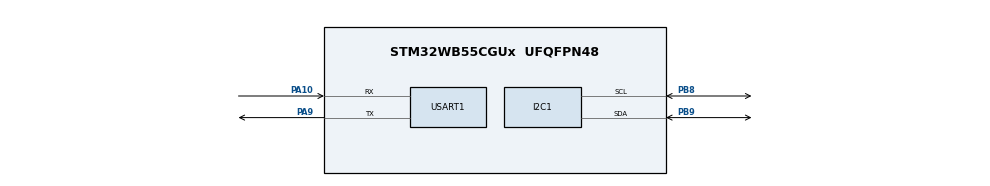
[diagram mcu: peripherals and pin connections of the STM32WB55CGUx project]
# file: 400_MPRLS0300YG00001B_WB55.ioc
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I2C1.Timing=0x00100D14
Mcu.Family=STM32WB
Mcu.Name=STM32WB55CGUx
Mcu.Package=UFQFPN48
NVIC.PriorityGroup=NVIC_PRIORITYGROUP_4
OSC_IN.Mode=HSE-External-Oscillator
OSC_IN.Signal=RCC_OSC_IN
OSC_OUT.Mode=HSE-External-Oscillator
OSC_OUT.Signal=RCC_OSC_OUT
PA10.Mode=Asynchronous
PA10.Signal=USART1_RX
PA13.Mode=Serial_Wire
PA13.Signal=SYS_JTMS-SWDIO
PA14.Mode=Serial_Wire
PA14.Signal=SYS_JTCK-SWCLK
PA9.Mode=Asynchronous
PA9.Signal=USART1_TX
PB8.Mode=I2C
PB8.Signal=I2C1_SCL
PB9.Mode=I2C
PB9.Signal=I2C1_SDA
PC14-OSC32_IN.Mode=LSE-External-Oscillator
PC14-OSC32_IN.Signal=RCC_OSC32_IN
PC15-OSC32_OUT.Mode=LSE-External-Oscillator
PC15-OSC32_OUT.Signal=RCC_OSC32_OUT
ProjectManager.HeapSize=0x200
ProjectManager.StackSize=0x400
ProjectManager.TargetToolchain=STM32CubeIDE
RCC.APB3Freq_Value=4000000
RCC.HSE_VALUE=8000000
RCC.HSI48_VALUE=48000000
RCC.HSI_VALUE=16000000
RCC.VCOOutputFreq_Value=32000000
USART1.VirtualMode-Asynchronous=VM_ASYNC
VP_MEMORYMAP_VS_MEMORYMAP.Mode=CurAppReg
board=custom

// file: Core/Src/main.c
/* USER CODE BEGIN Header */
/**
  ******************************************************************************
  * @file           : main.c
  * @brief          : Main program body
  ******************************************************************************
  * @attention
  *
  * Copyright (c) 2026 STMicroelectronics.
  * All rights reserved.
  *
  * This software is licensed under terms that can be found in the LICENSE file
  * in the root directory of this software component.
  * If no LICENSE file comes with this software, it is provided AS-IS.
  *
  ******************************************************************************
  */
/* USER CODE END Header */
#include "main.h"

/* USER CODE BEGIN Includes */
#include <stdio.h>
#include <string.h>
/* USER CODE END Includes */

/* USER CODE BEGIN PD */
#define MPR_I2C_ADDR        (0x18 << 1)   // 0x30 (8-bit format for HAL)
#define CMD_MEASUREMENT     {0xAA, 0x00, 0x00}

#define OUTPUT_MIN          419430.4f     // Transfer Function B
#define OUTPUT_MAX          3774873.6f
#define P_MIN               0.0f
#define P_MAX               300.0f        // mmHg for your MPRLS0300YG00001B

#define MAX_CHECK_ATTEMPTS  10
/* USER CODE END PD */

I2C_HandleTypeDef hi2c1;

UART_HandleTypeDef huart1;

void SystemClock_Config(void);
void PeriphCommonClock_Config(void);
static void MX_GPIO_Init(void);
static void MX_I2C1_Init(void);
static void MX_USART1_UART_Init(void);

/* USER CODE BEGIN 0 */
/* Global variable for debugger / Live Watch / COM port monitoring */
volatile float current_pressure_mmHg = 0.0f;

/* Private function prototypes */
HAL_StatusTypeDef MPRLS_CheckPresence(void);
float MPRLS_ReadPressure_mmHg(void);
/* USER CODE END 0 */

int main(void)
{

  /* MCU Configuration--------------------------------------------------------*/

  /* Reset of all peripherals, Initializes the Flash interface and the Systick. */
  HAL_Init();

  /* Configure the system clock */
  SystemClock_Config();

  /* Configure the peripherals common clocks */
  PeriphCommonClock_Config();

  /* Initialize all configured peripherals */
  MX_GPIO_Init();
  MX_I2C1_Init();
  MX_USART1_UART_Init();
  /* USER CODE BEGIN 2 */
  char uart_buf[128];

      // === 1. SENSOR PRESENCE CHECK (replaces "Part ID" check) ===
      HAL_UART_Transmit(&huart1, (uint8_t*)"\r\n=== MPRLS0300YG00001B Sensor Check ===\r\n", 48, 100);

      if (MPRLS_CheckPresence() != HAL_OK)
      {
          HAL_UART_Transmit(&huart1, (uint8_t*)"[ERROR] Sensor not detected! Check wiring / address.\r\n", 52, 100);
          while(1);   // Stop here
      }

      HAL_UART_Transmit(&huart1, (uint8_t*)"[OK] Sensor detected and responding!\r\n\r\n", 40, 100);
  /* USER CODE END 2 */

  /* Infinite loop */
  while (1)
  {
	  current_pressure_mmHg = MPRLS_ReadPressure_mmHg();

	          // Print to UART (visible on COM port via USB-UART bridge)
	          snprintf(uart_buf, sizeof(uart_buf), "Pressure: %.2f mmHg\r\n", current_pressure_mmHg);
	          HAL_UART_Transmit(&huart1, (uint8_t*)uart_buf, strlen(uart_buf), 100);

	          // Optional: add small delay so you can blow on the sensor port
	          HAL_Delay(200);
  }
}

void SystemClock_Config(void)
{
  RCC_OscInitTypeDef RCC_OscInitStruct = {0};
  RCC_ClkInitTypeDef RCC_ClkInitStruct = {0};

  /** Configure the main internal regulator output voltage
  */
  __HAL_PWR_VOLTAGESCALING_CONFIG(PWR_REGULATOR_VOLTAGE_SCALE1);

  /** Initializes the RCC Oscillators according to the specified parameters
  * in the RCC_OscInitTypeDef structure.
  */
  RCC_OscInitStruct.OscillatorType = RCC_OSCILLATORTYPE_HSI|RCC_OSCILLATORTYPE_HSE
                              |RCC_OSCILLATORTYPE_MSI;
  RCC_OscInitStruct.HSEState = RCC_HSE_ON;
  RCC_OscInitStruct.HSIState = RCC_HSI_ON;
  RCC_OscInitStruct.MSIState = RCC_MSI_ON;
  RCC_OscInitStruct.HSICalibrationValue = RCC_HSICALIBRATION_DEFAULT;
  RCC_OscInitStruct.MSICalibrationValue = RCC_MSICALIBRATION_DEFAULT;
  RCC_OscInitStruct.MSIClockRange = RCC_MSIRANGE_6;
  RCC_OscInitStruct.PLL.PLLState = RCC_PLL_NONE;
  if (HAL_RCC_OscConfig(&RCC_OscInitStruct) != HAL_OK)
  {
    Error_Handler();
  }

  /** Configure the SYSCLKSource, HCLK, PCLK1 and PCLK2 clocks dividers
  */
  RCC_ClkInitStruct.ClockType = RCC_CLOCKTYPE_HCLK4|RCC_CLOCKTYPE_HCLK2
                              |RCC_CLOCKTYPE_HCLK|RCC_CLOCKTYPE_SYSCLK
                              |RCC_CLOCKTYPE_PCLK1|RCC_CLOCKTYPE_PCLK2;
  RCC_ClkInitStruct.SYSCLKSource = RCC_SYSCLKSOURCE_MSI;
  RCC_ClkInitStruct.AHBCLKDivider = RCC_SYSCLK_DIV1;
  RCC_ClkInitStruct.APB1CLKDivider = RCC_HCLK_DIV1;
  RCC_ClkInitStruct.APB2CLKDivider = RCC_HCLK_DIV1;
  RCC_ClkInitStruct.AHBCLK2Divider = RCC_SYSCLK_DIV1;
  RCC_ClkInitStruct.AHBCLK4Divider = RCC_SYSCLK_DIV1;

  if (HAL_RCC_ClockConfig(&RCC_ClkInitStruct, FLASH_LATENCY_0) != HAL_OK)
  {
    Error_Handler();
  }
}

void PeriphCommonClock_Config(void)
{
  RCC_PeriphCLKInitTypeDef PeriphClkInitStruct = {0};

  /** Initializes the peripherals clock
  */
  PeriphClkInitStruct.PeriphClockSelection = RCC_PERIPHCLK_SMPS;
  PeriphClkInitStruct.SmpsClockSelection = RCC_SMPSCLKSOURCE_HSI;
  PeriphClkInitStruct.SmpsDivSelection = RCC_SMPSCLKDIV_RANGE1;

  if (HAL_RCCEx_PeriphCLKConfig(&PeriphClkInitStruct) != HAL_OK)
  {
    Error_Handler();
  }
}

static void MX_I2C1_Init(void)
{

  hi2c1.Instance = I2C1;
  hi2c1.Init.Timing = 0x00100D14;
  hi2c1.Init.OwnAddress1 = 0;
  hi2c1.Init.AddressingMode = I2C_ADDRESSINGMODE_7BIT;
  hi2c1.Init.DualAddressMode = I2C_DUALADDRESS_DISABLE;
  hi2c1.Init.OwnAddress2 = 0;
  hi2c1.Init.OwnAddress2Masks = I2C_OA2_NOMASK;
  hi2c1.Init.GeneralCallMode = I2C_GENERALCALL_DISABLE;
  hi2c1.Init.NoStretchMode = I2C_NOSTRETCH_DISABLE;
  if (HAL_I2C_Init(&hi2c1) != HAL_OK)
  {
    Error_Handler();
  }

  /** Configure Analogue filter
  */
  if (HAL_I2CEx_ConfigAnalogFilter(&hi2c1, I2C_ANALOGFILTER_ENABLE) != HAL_OK)
  {
    Error_Handler();
  }

  /** Configure Digital filter
  */
  if (HAL_I2CEx_ConfigDigitalFilter(&hi2c1, 0) != HAL_OK)
  {
    Error_Handler();
  }

}

static void MX_USART1_UART_Init(void)
{

  huart1.Instance = USART1;
  huart1.Init.BaudRate = 115200;
  huart1.Init.WordLength = UART_WORDLENGTH_8B;
  huart1.Init.StopBits = UART_STOPBITS_1;
  huart1.Init.Parity = UART_PARITY_NONE;
  huart1.Init.Mode = UART_MODE_TX_RX;
  huart1.Init.HwFlowCtl = UART_HWCONTROL_NONE;
  huart1.Init.OverSampling = UART_OVERSAMPLING_16;
  huart1.Init.OneBitSampling = UART_ONE_BIT_SAMPLE_DISABLE;
  huart1.Init.ClockPrescaler = UART_PRESCALER_DIV1;
  huart1.AdvancedInit.AdvFeatureInit = UART_ADVFEATURE_NO_INIT;
  if (HAL_UART_Init(&huart1) != HAL_OK)
  {
    Error_Handler();
  }
  if (HAL_UARTEx_SetTxFifoThreshold(&huart1, UART_TXFIFO_THRESHOLD_1_8) != HAL_OK)
  {
    Error_Handler();
  }
  if (HAL_UARTEx_SetRxFifoThreshold(&huart1, UART_RXFIFO_THRESHOLD_1_8) != HAL_OK)
  {
    Error_Handler();
  }
  if (HAL_UARTEx_DisableFifoMode(&huart1) != HAL_OK)
  {
    Error_Handler();
  }

}

static void MX_GPIO_Init(void)
{

  /* GPIO Ports Clock Enable */
  __HAL_RCC_GPIOC_CLK_ENABLE();
  __HAL_RCC_GPIOB_CLK_ENABLE();
  __HAL_RCC_GPIOA_CLK_ENABLE();

}

/* USER CODE BEGIN 4 */
/* ================================================================ */
/* SENSOR PRESENCE CHECK (closest equivalent to Part ID check)      */
/* ================================================================ */
HAL_StatusTypeDef MPRLS_CheckPresence(void)
{
    uint8_t cmd[3] = CMD_MEASUREMENT;
    uint8_t data[7];
    int success_count = 0;

    for (int i = 0; i < MAX_CHECK_ATTEMPTS; i++)
    {
        // Try to send measurement command
        if (HAL_I2C_Master_Transmit(&hi2c1, MPR_I2C_ADDR, cmd, 3, 100) == HAL_OK)
        {
            HAL_Delay(10);  // conversion time

            if (HAL_I2C_Master_Receive(&hi2c1, MPR_I2C_ADDR, data, 7, 100) == HAL_OK)
            {
                // Check status byte (bit 6 = powered, bit 5 = not busy, memory error = 0)
                if ((data[0] & 0xC0) == 0x40 && (data[0] & 0x04) == 0)
                {
                    success_count++;
                    if (success_count >= 3) return HAL_OK;  // 3 successful reads = reliable
                }
            }
        }
        HAL_Delay(50);
    }
    return HAL_ERROR;
}

/* ================================================================ */
/* PRESSURE READING FUNCTION (Transfer Function B)                 */
/* ================================================================ */
float MPRLS_ReadPressure_mmHg(void)
{
    uint8_t cmd[3] = CMD_MEASUREMENT;
    uint8_t data[7] = {0};

    if (HAL_I2C_Master_Transmit(&hi2c1, MPR_I2C_ADDR, cmd, 3, 100) != HAL_OK)
        return -1.0f;

    HAL_Delay(10);  // typical conversion time

    if (HAL_I2C_Master_Receive(&hi2c1, MPR_I2C_ADDR, data, 7, 100) != HAL_OK)
        return -1.0f;

    // Combine 24-bit pressure counts (MSB first)
    uint32_t press_counts = ((uint32_t)data[1] << 16) |
                            ((uint32_t)data[2] << 8)  |
                             data[3];

    // Apply Transfer Function B for 0-300 mmHg
    float pressure = ((press_counts - OUTPUT_MIN) * (P_MAX - P_MIN)) /
                     (OUTPUT_MAX - OUTPUT_MIN) + P_MIN;

    return pressure;
}
/* USER CODE END 4 */

void Error_Handler(void)
{
  __disable_irq();
  while (1)
  {
  }
}
